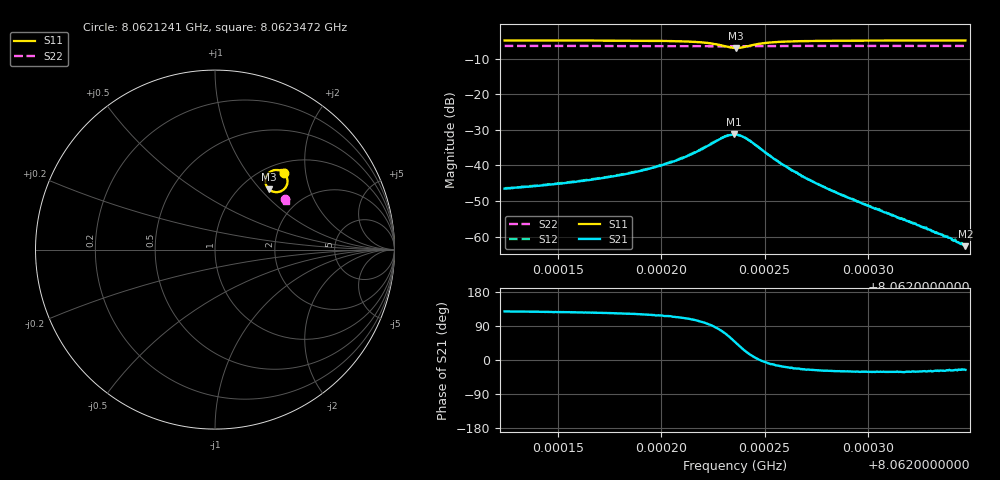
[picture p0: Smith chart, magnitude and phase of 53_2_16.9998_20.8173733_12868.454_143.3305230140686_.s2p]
#  HZ  S  RI  R  50.00
! Rohde & Schwarz Vector Network Analyzer
! Rohde-Schwarz,ZNB20-2Port,1311601062101988,3.16
! Created: UTC 3/20/2024, 10:54:23 PM
! freq[Hz]  re:S11  im:S11  re:S21  im:S21  re:S12  im:S12  re:S22  im:S22
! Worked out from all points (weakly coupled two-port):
!   401 points, 8.0621241 GHz to 8.0623472 GHz, reference 50 ohm
!   highest |S21| = -31.27 dB at 8.0622351 GHz (marker M1); lowest = -62.7 dB at 8.0623472 GHz (marker M2)
!   lowest |S11| = -6.9 dB at 8.0622362 GHz (marker M3), VSWR 2.64, Z = 66.3 + j55.8 ohm
!   |S11| at or under -10 dB: nowhere
!   |S22| runs from -6.4 to -6.3 dB; largest |S21 - S12| = 0.0021
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8.06212407e9  0.3863 0.4261  -0.00292 0.00372  -0.00275 0.00393  0.3896 0.2833
8.06216145e9  0.392 0.4192  -0.00352 0.00493  -0.00323 0.0052  0.391 0.2812
8.06218265e9  0.3968 0.4118  -0.00405 0.00641  -0.00368 0.0067  0.3917 0.2798
8.06219883e9  0.4013 0.4011  -0.0046 0.0087  -0.00406 0.00906  0.3923 0.2785
8.0622111e9  0.4044 0.3844  -0.00447 0.0122  -0.00382 0.0126  0.3925 0.2773
8.06222282e9  0.3958 0.3503  -0.0016 0.0191  -0.000266 0.0194  0.3918 0.2754
8.06223063e9  0.3547 0.3212  0.00815 0.024  0.01 0.0236  0.3899 0.2745
8.06223509e9  0.3112 0.3283  0.0174 0.021  0.0191 0.0198  0.3884 0.2752
8.06223565e9  0.3059 0.3317  0.0184 0.02  0.0199 0.0189  0.3882 0.2754
8.06223621e9  0.3011 0.3357  0.0193 0.0191  0.0207 0.0179  0.3881 0.2758
8.06223844e9  0.2865 0.3549  0.0218 0.0145  0.0228 0.013  0.3879 0.2767
8.06224179e9  0.2807 0.3866  0.022 0.0077  0.0225 0.00598  0.3882 0.2778
8.0622496e9  0.3042 0.4305  0.0158 -0.00123  0.0157 -0.00228  0.3903 0.279
8.06225685e9  0.3265 0.4417  0.0108 -0.00293  0.0106 -0.00367  0.3916 0.2788
8.06226299e9  0.3392 0.4436  0.00801 -0.00292  0.00789 -0.00357  0.3924 0.2783
8.06227303e9  0.3524 0.4429  0.00535 -0.00264  0.00524 -0.00296  0.3931 0.2777
8.06228865e9  0.3636 0.4401  0.00321 -0.00187  0.00314 -0.00208  0.394 0.2767
8.06231041e9  0.3719 0.4365  0.00177 -0.00109  0.00173 -0.00118  0.395 0.2753
8.06232938e9  0.3763 0.4339  0.00111 -0.000615  0.00109 -0.000669  0.3957 0.2743
8.06233329e9  0.3772 0.4334  0.00098 -0.000541  0.000977 -0.000605  0.3958 0.2741
8.06233943e9  0.3781 0.4328  0.000865 -0.00042  0.000853 -0.000487  0.396 0.2737
8.06234724e9  0.3795 0.4319  0.000658 -0.00032  0.00064 -0.000371  0.3964 0.2733
